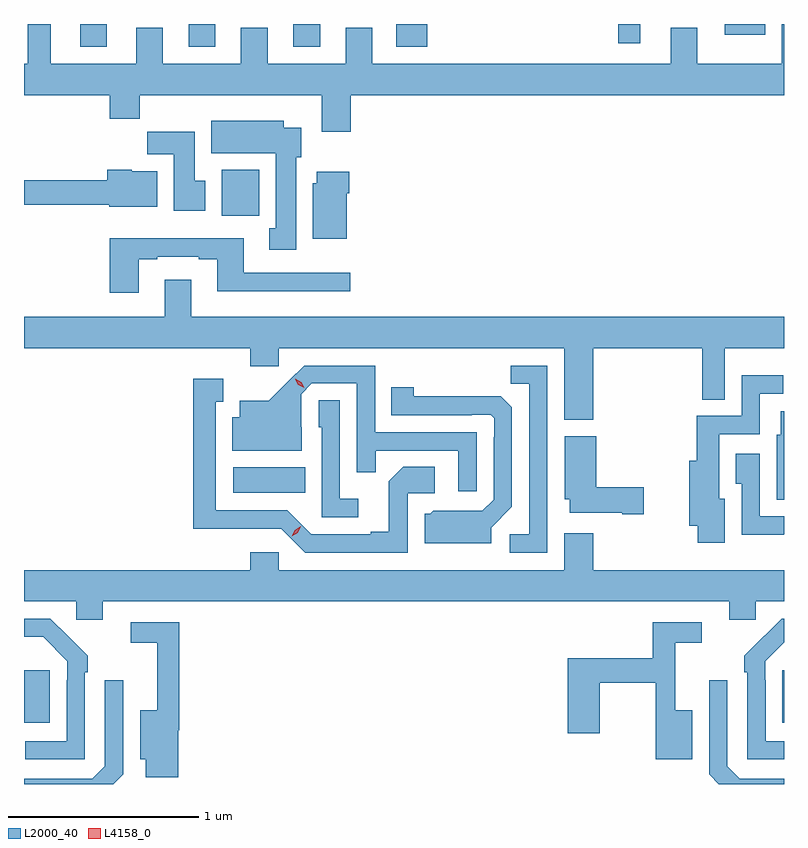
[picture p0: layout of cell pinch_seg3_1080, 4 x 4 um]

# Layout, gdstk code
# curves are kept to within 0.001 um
import gdstk
lib = gdstk.Library(unit=1e-6, precision=1e-09)
def R(c, l, rs):  # rectangles x0, y0, x1, y1
    for r in rs: c.add(gdstk.rectangle(r[:2], r[2:], *l))
def P(c, l, *ps):  # polygons
    for p in ps: c.add(gdstk.Polygon(p, *l))
L2000_40 = (2000, 40)
L4158_0 = (4158, 0)

pinch_seg3_1080 = lib.new_cell('pinch_seg3_1080')
R(pinch_seg3_1080, L2000_40, [(327.195,674.969,327.331,675.244), (331.187,674.969,331.195,675.244), (328.296,676.178,328.676,676.312), (328.235,677.636,328.432,677.878), (327.491,678.525,327.631,678.646), (328.061,678.525,328.201,678.646), (328.613,678.525,328.753,678.646), (329.153,678.525,329.318,678.646), (330.322,678.546,330.438,678.646), (330.884,678.59,331.096,678.646)])
P(pinch_seg3_1080, L2000_40, [(328.916,678.272),(331.195,678.272),(331.195,678.646),(331.184,678.646),(331.184,678.436),(330.739,678.436),(330.739,678.625),(330.599,678.625),(330.599,678.436),(329.029,678.436),(329.029,678.626),(328.889,678.626),(328.889,678.436),(328.477,678.436),(328.477,678.626),(328.337,678.626),(328.337,678.436),(327.925,678.436),(327.925,678.626),(327.786,678.626),(327.786,678.436),(327.337,678.436),(327.337,678.646),(327.216,678.646),(327.216,678.436),(327.195,678.436),(327.195,678.272),(327.647,678.272),(327.647,678.148),(327.803,678.148),(327.803,678.272),(328.763,678.272),(328.763,678.078),(328.916,678.078)],
  [(328.627,677.946),(328.654,677.946),(328.654,678.1),(328.561,678.1),(328.561,678.136),(328.181,678.136),(328.181,677.966),(328.52,677.966),(328.52,677.57),(328.487,677.57),(328.487,677.457),(328.627,677.457)],
  [(328.15,677.82),(328.093,677.82),(328.093,678.078),(327.844,678.078),(327.844,677.96),(327.983,677.96),(327.983,677.664),(328.15,677.664)],
  [(327.895,677.872),(327.762,677.872),(327.762,677.878),(327.632,677.878),(327.632,677.824),(327.195,677.824),(327.195,677.695),(327.644,677.695),(327.644,677.684),(327.895,677.684)],
  [(328.894,677.756),(328.907,677.756),(328.907,677.869),(328.736,677.869),(328.736,677.808),(328.715,677.808),(328.715,677.516),(328.894,677.516)],
  [(327.799,677.409),(327.895,677.409),(327.895,677.421),(328.115,677.421),(328.115,677.409),(328.211,677.409),(328.211,677.24),(328.912,677.24),(328.912,677.337),(328.351,677.337),(328.351,677.518),(327.647,677.518),(327.647,677.232),(327.799,677.232)],
  [(330.191,676.94),(330.765,676.94),(330.765,676.669),(330.883,676.669),(330.883,676.94),(331.195,676.94),(331.195,677.104),(328.075,677.104),(328.075,677.299),(327.935,677.299),(327.935,677.104),(327.195,677.104),(327.195,676.94),(328.385,676.94),(328.385,676.845),(328.536,676.845),(328.536,676.94),(330.038,676.94),(330.038,676.562),(330.191,676.562)],
  [(329.949,676.848),(329.758,676.848),(329.758,676.753),(329.853,676.753),(329.853,675.96),(329.751,675.96),(329.751,675.864),(329.949,675.864)],
  [(329.577,676.497),(329.043,676.497),(329.043,676.848),(328.67,676.848),(328.483,676.663),(328.331,676.663),(328.331,676.576),(328.292,676.576),(328.292,676.4),(328.657,676.4),(328.657,676.524),(328.653,676.524),(328.653,676.698),(328.71,676.755),(328.947,676.755),(328.947,676.288),(329.045,676.288),(329.045,676.401),(329.481,676.401),(329.481,676.188),(329.577,676.188)],
  [(330.883,676.147),(330.853,676.147),(330.853,676.488),(331.068,676.488),(331.068,676.701),(331.192,676.701),(331.192,676.798),(330.972,676.798),(330.972,676.584),(330.735,676.584),(330.735,676.348),(330.695,676.348),(330.695,676.004),(330.74,676.004),(330.74,675.915),(330.883,675.915)],
  [(329.214,676.176),(329.356,676.176),(329.356,676.316),(329.191,676.316),(329.115,676.24),(329.115,675.973),(329.021,675.973),(329.021,675.96),(328.707,675.96),(328.581,676.086),(328.204,676.086),(328.204,676.659),(328.243,676.659),(328.243,676.78),(328.086,676.78),(328.086,675.989),(328.548,675.99),(328.674,675.864),(329.214,675.864)],
  [(329.653,675.996),(329.763,676.106),(329.763,676.628),(329.704,676.687),(329.247,676.688),(329.247,676.735),(329.128,676.735),(329.128,676.587),(329.552,676.587),(329.552,676.59),(329.652,676.59),(329.67,676.572),(329.67,676.472),(329.667,676.472),(329.667,676.143),(329.607,676.083),(329.35,676.084),(329.334,676.068),(329.303,676.068),(329.303,675.914),(329.653,675.914)],
  [(328.954,676.147),(328.857,676.147),(328.857,676.667),(328.746,676.667),(328.746,676.524),(328.761,676.524),(328.761,676.05),(328.954,676.05)],
  [(331.195,676.609),(331.178,676.609),(331.178,676.485),(331.157,676.485),(331.157,676.141),(331.195,676.141)],
  [(330.457,676.208),(330.208,676.208),(330.208,676.477),(330.041,676.477),(330.041,676.146),(330.068,676.146),(330.068,676.073),(330.344,676.073),(330.344,676.066),(330.457,676.066)],
  [(331.193,675.96),(331.195,675.96),(331.195,676.056),(331.068,676.056),(331.068,676.384),(330.941,676.384),(330.941,676.225),(330.972,676.225),(330.972,675.959),(331.193,675.959)],
  [(327.61,675.608),(330.908,675.608),(330.908,675.51),(331.047,675.51),(331.047,675.608),(331.195,675.608),(331.195,675.772),(330.191,675.772),(330.191,675.967),(330.038,675.967),(330.038,675.772),(328.536,675.772),(328.536,675.865),(328.385,675.865),(328.385,675.772),(327.195,675.772),(327.195,675.608),(327.471,675.608),(327.471,675.51),(327.61,675.51)],
  [(327.516,675.233),(327.531,675.233),(327.531,675.321),(327.334,675.516),(327.195,675.516),(327.195,675.42),(327.295,675.42),(327.423,675.291),(327.423,675.191),(327.42,675.191),(327.42,674.871),(327.201,674.871),(327.201,674.775),(327.516,674.775)],
  [(331.195,674.871),(331.098,674.871),(331.098,675.191),(331.095,675.191),(331.095,675.291),(331.195,675.391),(331.195,675.516),(331.184,675.516),(330.987,675.321),(330.987,675.233),(331.002,675.233),(331.002,674.775),(331.195,674.775)],
  [(328.007,674.93),(328.013,674.93),(328.013,675.498),(327.756,675.498),(327.756,675.39),(327.896,675.39),(327.896,675.034),(327.806,675.034),(327.806,674.777),(327.836,674.777),(327.836,674.682),(328.007,674.682)],
  [(330.712,675.034),(330.623,675.034),(330.623,675.39),(330.763,675.39),(330.763,675.498),(330.505,675.498),(330.505,675.307),(330.056,675.307),(330.056,674.913),(330.226,674.913),(330.226,675.178),(330.52,675.178),(330.52,674.777),(330.712,674.777)],
  [(327.717,674.697),(327.717,675.193),(327.621,675.193),(327.621,674.739),(327.555,674.673),(327.195,674.673),(327.195,674.646),(327.666,674.646)],
  [(331.195,674.673),(330.963,674.673),(330.897,674.739),(330.897,675.193),(330.801,675.193),(330.801,674.697),(330.852,674.646),(331.195,674.646)])
P(pinch_seg3_1080, L4158_0, [(328.67,676.731),(328.639,676.747),(328.622,676.777),(328.622,676.778),(328.623,676.778),(328.653,676.761),(328.67,676.731),(328.67,676.731)],
  [(328.603,675.949),(328.603,675.95),(328.62,675.982),(328.651,676.002),(328.652,676.002),(328.652,676.002),(328.635,675.969),(328.603,675.949)])

lib.write_gds('pinch_seg3_1080.gds')
